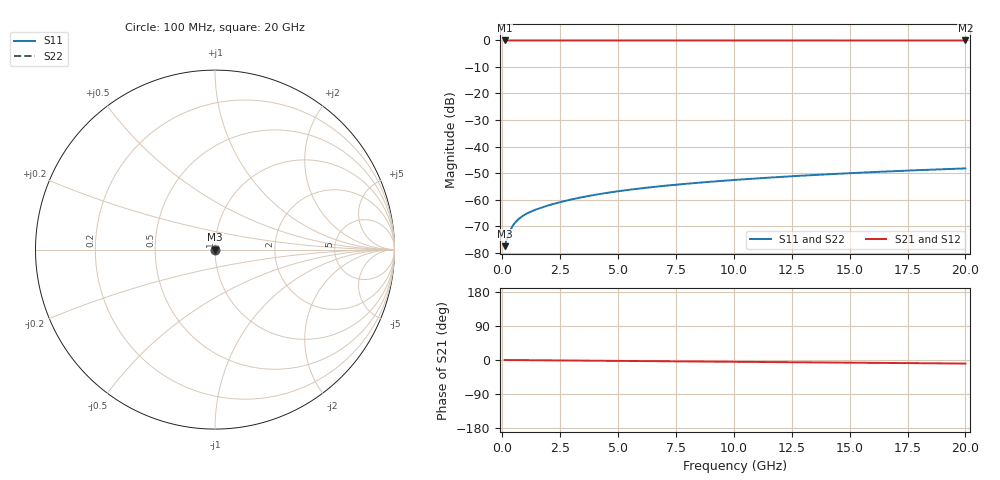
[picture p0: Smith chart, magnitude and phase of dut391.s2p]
! Touchstone file exported from HFSS 2026.1.0
!  File:  C:/ffzhzh/LocalFiles/Ansys_Project_Files/temp_train_TSV_391_1783020062_4048.aedt
!  Generated:  03:22:47 AM Jul  3, 2026
!  Design:  TSV
!  Project:  temp_train_TSV_391_1783020062_4048
! Variables:
!  h_bsmrdl = 2um
!  h_ox = 20um
!  h_rdl = 5um
!  h_sub = 95.24um
!  h_tmrdl = 5um
!  h_tsv = 95.24um
!  h_via = 3um
!  l_bsmrdl = 300um
!  l_sub = 423.4um
!  l_tmrdl = 200um
!  m_sub = 200um
!  pitch = 48.38um
!  r_tsv = 11.7um
!  s_tmrdl = 10um
!  w_bsmrdl = 18um
!  w_sub = 500um
!  w_tmrdl = 12um
!  x_tsv_center1 = 206um
!  x_tsv_center2 = 524um
!  x_tsv_center3 = 736um
!  x_tsv_center4 = 1054um
!  x_tsv_center5 = 1266um
!  x_tsv_center6 = 1584um
# GHz S MA R 50.000000
! Terminal data exported
! Port[1] = TSV1_1_T1
! Port[2] = TSV1_1_T2
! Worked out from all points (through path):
!   200 points, 100 MHz to 20 GHz, reference 50 ohm
!   highest |S21| = 0.00 dB at 100 MHz (marker M1); lowest = 0.0 dB at 20 GHz (marker M2)
!   group delay of S21, straight-line fit = 1.3 ps
!   lowest |S11| = -77.6 dB at 100 MHz (marker M3), VSWR 1.00, Z = 50 + j0.00666 ohm
!   |S11| at or under -10 dB: start of sweep to end of sweep
!   |S22| runs from -77.6 to -48.2 dB; largest |S21 - S12| = 3e-15
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0.1  0.0001324 30.2  0.9999 -0.0  0.9999 -0.0  0.0001324 30.2
! Gamma 0 0 0 0
! Port Impedance 50 0 50 0
0.2  0.0001828 45.0  0.9999 -0.1  0.9999 -0.1  0.0001828 45.0
0.3  0.0002393 50.9  0.9999 -0.1  0.9999 -0.1  0.0002393 50.9
0.4  0.0002937 53.1  0.9998 -0.2  0.9998 -0.2  0.0002937 53.1
0.5  0.0003434 53.7  0.9998 -0.2  0.9998 -0.2  0.0003434 53.7
0.6  0.000388 53.7  0.9998 -0.3  0.9998 -0.3  0.000388 53.7
0.7  0.0004279 53.6  0.9997 -0.3  0.9997 -0.3  0.0004279 53.6
0.9  0.0004967 53.3  0.9997 -0.4  0.9997 -0.4  0.0004967 53.3
1.1  0.0005557 53.3  0.9997 -0.5  0.9997 -0.5  0.0005556 53.3
1.3  0.000609 53.7  0.9996 -0.6  0.9996 -0.6  0.0006089 53.7
1.9  0.0007553 55.5  0.9996 -0.9  0.9996 -0.9  0.0007553 55.5
2.6  0.0009183 57.4  0.9995 -1.2  0.9995 -1.2  0.0009183 57.4
3.5  0.001121 59.0  0.9994 -1.7  0.9994 -1.7  0.001121 59.0
4.2  0.001272 59.8  0.9994 -2.0  0.9994 -2.0  0.001272 59.8
5  0.001436 60.3  0.9993 -2.4  0.9993 -2.4  0.001436 60.3
5.9  0.001612 60.7  0.9993 -2.8  0.9993 -2.8  0.001613 60.7
6.8  0.001781 61.0  0.9992 -3.2  0.9992 -3.2  0.001781 61.0
8.3  0.00205 61.4  0.9991 -3.9  0.9991 -3.9  0.00205 61.4
10.1  0.002358 61.7  0.9991 -4.8  0.9991 -4.8  0.002359 61.7
13.4  0.002897 61.7  0.9989 -6.3  0.9989 -6.3  0.002897 61.7
16.7  0.003403 61.3  0.9988 -7.8  0.9988 -7.8  0.003403 61.3
20  0.003872 60.5  0.9987 -9.4  0.9987 -9.4  0.003873 60.5
